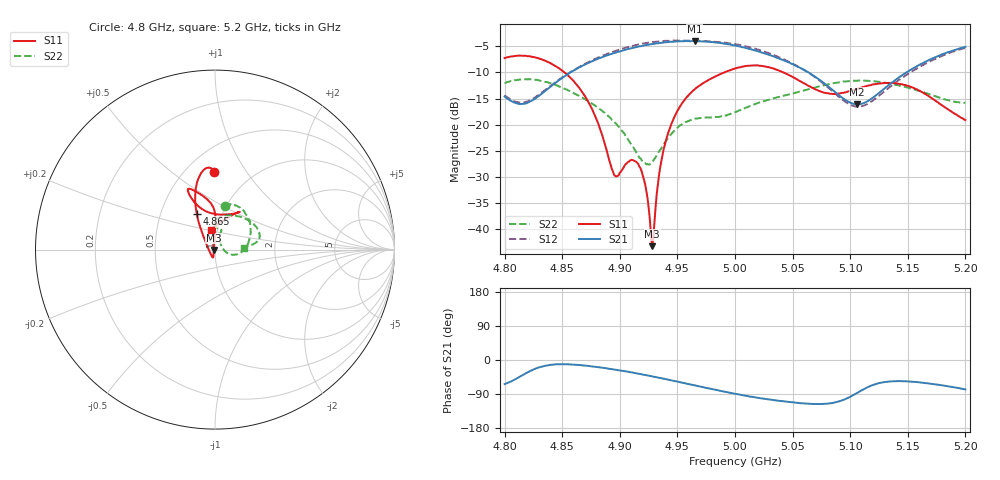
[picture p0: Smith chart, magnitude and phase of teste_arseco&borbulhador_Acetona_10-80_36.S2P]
! Network Analyzer HP8722D
! Hewlett-Packard
! Data name: Linha & Wilkinson
! Saver's name: Rodrigo Anjos
! Comments: Teste da utilização de aquisição
! continua pelo VNA HP8722D
! Time and date: 25/4/2025 15:34
!  Frequency  S11  S21  S12  S22
# HZ  S  MA R 50
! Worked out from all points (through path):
!   401 points, 4.8 GHz to 5.2 GHz, reference 50 ohm
!   highest |S21| = -3.96 dB at 4.965 GHz (marker M1); lowest = -16.1 dB at 5.106 GHz (marker M2)
!   lowest |S11| = -43.3 dB at 4.928 GHz (marker M3), VSWR 1.01, Z = 49.3 - j0.134 ohm
!   |S11| at or under -10 dB: 4.852 GHz to 4.991 GHz (138.7 MHz wide, 2.82 % of centre); 5.042 GHz to end of sweep
!   |S22| runs from -27.7 to -11.3 dB; largest |S21 - S12| = 1.2
!   S11 on the Smith chart (normalised r, x): 4.8 GHz: 0.68, +0.73; 4.865 GHz: 0.76, +0.32; 5.2 GHz: 0.94, +0.21
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4.8e9  0.4343 90.5  0.1861 -63.7  0.1909 69.7  0.249 77.1
4.82e9  0.453 96.8  0.1622 -32.4  0.1672 98.5  0.2716 61.5
4.845e9  0.3602 107.2  0.2555 -11.3  0.2589 119.4  0.2376 34.3
4.865e9  0.2234 116.9  0.355 -13.2  0.3576 120.7  0.188 10.9
4.867e9  0.2078 118.2  0.3642 -13.9  0.3682 120.6  0.1823 8.6
4.88e9  0.1106 128.4  0.4239 -18.4  0.433 118.3  0.1483 -5.3
4.895e9  0.03296 -173.1  0.4854 -25.1  0.5038 113.9  0.1064 -15.6
4.909e9  0.04524 -108.0  0.537 -32.2  0.5616 107.5  0.06688 -13.9
4.917e9  0.03959 -102.8  0.5628 -36.4  0.5892 103.4  0.04795 -1.5
4.922e9  0.02667 -106.7  0.5779 -39.4  0.6029 100.7  0.0428 16.6
4.928e9  0.006809 -168.5  0.5919 -43.2  0.6178 97.0  0.04361 41.6
4.93e9  0.01138 124.8  0.5966 -44.4  0.6206 95.5  0.04672 48.6
4.934e9  0.03233 99.2  0.6044 -47.0  0.6282 93.2  0.05524 58.5
4.939e9  0.06324 92.6  0.6161 -49.8  0.636 90.0  0.06668 65.8
4.946e9  0.1091 89.7  0.6232 -54.6  0.6382 85.5  0.08442 70.1
4.965e9  0.2175 90.8  0.6339 -67.1  0.6385 73.4  0.1136 71.7
5e9  0.3458 108.9  0.5749 -89.1  0.5924 50.7  0.1315 88.4
5.031e9  0.3505 115.0  0.4602 -104.8  0.4771 33.3  0.1754 84.5
5.067e9  0.2255 105.1  0.3004 -116.0  0.298 23.6  0.2226 56.9
5.106e9  0.2202 64.2  0.1565 -87.0  0.1486 56.0  0.2633 24.8
5.134e9  0.2513 56.9  0.2418 -56.8  0.2271 88.6  0.2476 12.4
5.2e9  0.1104 100.3  0.5566 -77.7  0.546 70.1  0.1613 3.8
